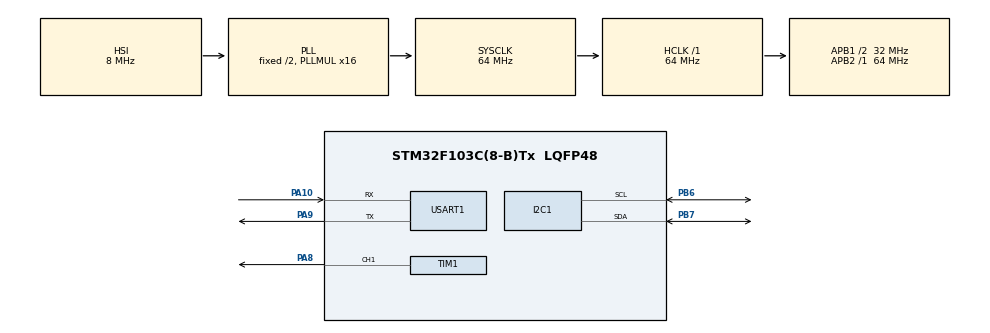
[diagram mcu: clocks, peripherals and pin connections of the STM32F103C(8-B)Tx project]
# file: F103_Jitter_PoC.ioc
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FREERTOS.Tasks01=defaultTask,24,128,StartDefaultTask,Default,NULL,Dynamic,NULL,NULL
FREERTOS.configTOTAL_HEAP_SIZE=8192
FREERTOS.configUSE_NEWLIB_REENTRANT=1
I2C1.I2C_Mode=I2C_Fast
Mcu.Family=STM32F1
Mcu.Name=STM32F103C(8-B)Tx
Mcu.Package=LQFP48
NVIC.PriorityGroup=NVIC_PRIORITYGROUP_4
NVIC.TIM2_IRQn=true\:15\:0\:false\:false\:true\:false\:false\:true\:true
NVIC.TimeBase=TIM2_IRQn
NVIC.TimeBaseIP=TIM2
NVIC.USART1_IRQn=true\:5\:0\:false\:false\:true\:true\:true\:true\:true
PA10.Mode=Asynchronous
PA10.Signal=USART1_RX
PA13.Mode=Serial_Wire
PA13.Signal=SYS_JTMS-SWDIO
PA14.Mode=Serial_Wire
PA14.Signal=SYS_JTCK-SWCLK
PA8.Signal=S_TIM1_CH1
PA9.Mode=Asynchronous
PA9.Signal=USART1_TX
PB6.Mode=I2C
PB6.Signal=I2C1_SCL
PB7.Mode=I2C
PB7.Signal=I2C1_SDA
ProjectManager.HeapSize=0x200
ProjectManager.StackSize=0x400
ProjectManager.TargetToolchain=CMake
RCC.AHBFreq_Value=64000000
RCC.APB1CLKDivider=RCC_HCLK_DIV2
RCC.APB1Freq_Value=32000000
RCC.APB1TimFreq_Value=64000000
RCC.APB2Freq_Value=64000000
RCC.APB2TimFreq_Value=64000000
RCC.HCLKFreq_Value=64000000
RCC.PLLMUL=RCC_PLL_MUL16
RCC.SYSCLKFreq_VALUE=64000000
RCC.SYSCLKSource=RCC_SYSCLKSOURCE_PLLCLK
RCC.USBFreq_Value=64000000
SH.S_TIM1_CH1.0=TIM1_CH1,PWM Generation1 CH1
TIM1.Channel-PWM\ Generation1\ CH1=TIM_CHANNEL_1
TIM1.ClockDivision=TIM_CLOCKDIVISION_DIV2
TIM1.Period=19999
TIM1.Prescaler=63
USART1.VirtualMode=VM_ASYNC
VP_FREERTOS_VS_CMSIS_V2.Mode=CMSIS_V2
VP_SYS_VS_tim2.Mode=TIM2
VP_TIM1_VS_ClockSourceINT.Mode=Internal
board=custom

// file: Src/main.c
/* USER CODE BEGIN Header */
/**
  ******************************************************************************
  * @file           : main.c
  * @brief          : Main program body
  ******************************************************************************
  * @attention
  *
  * Copyright (c) 2026 STMicroelectronics.
  * All rights reserved.
  *
  * This software is licensed under terms that can be found in the LICENSE file
  * in the root directory of this software component.
  * If no LICENSE file comes with this software, it is provided AS-IS.
  *
  ******************************************************************************
  */
/* USER CODE END Header */
#include "main.h"
#include "cmsis_os.h"

/* USER CODE BEGIN Includes */
#include "FreeRTOS.h"
#include "queue.h"
#include "semphr.h"
#include "task.h"
#include "mpu6050.h"
#include <stdlib.h>
#include <stdio.h>
#include <string.h>
#include <limits.h>
/* USER CODE END Includes */

I2C_HandleTypeDef hi2c1;

TIM_HandleTypeDef htim1;

UART_HandleTypeDef huart1;

/* Definitions for defaultTask */
osThreadId_t defaultTaskHandle;
const osThreadAttr_t defaultTask_attributes = {
  .name = "defaultTask",
  .stack_size = 128 * 4,
  .priority = (osPriority_t) osPriorityNormal,
};
/* USER CODE BEGIN PV */
SemaphoreHandle_t uartMutex;      // Protects UART

/* Task handles - global so trace hooks can identify them */
TaskHandle_t hTaskI2C     = NULL;
TaskHandle_t hTaskProcess = NULL;
TaskHandle_t hTaskUart    = NULL;
TaskHandle_t hTaskMonitor = NULL;

mpu6050_t Mpu6050 = {0};

/* Pure CPU cycle measurement via trace hooks */
volatile uint32_t task_cpu_start_cycles = 0;

#define MEASURED_TASK_COUNT 3
#define TASK_I2C_IDX        0
#define TASK_PROCESS_IDX    1
#define TASK_UART_IDX       2

volatile uint32_t task_cpu_cycles[MEASURED_TASK_COUNT] = {0};

/* Statistics per task (reset every 10 s) */
typedef struct {
    int32_t  min_jitter_us;
    int32_t  max_jitter_us;
    int64_t  sum_jitter_us;
    uint32_t job_count;
    uint32_t deadline_misses;
    uint32_t max_response_us;
    uint32_t max_pure_c_us;
    int32_t  min_pure_c_us;
    uint64_t sum_pure_c_us;
} TaskStats_t;

TaskStats_t stats[MEASURED_TASK_COUNT];

/* USER CODE END PV */

void SystemClock_Config(void);
static void MX_GPIO_Init(void);
static void MX_USART1_UART_Init(void);
static void MX_I2C1_Init(void);
static void MX_TIM1_Init(void);
void StartDefaultTask(void *argument);

/* USER CODE BEGIN 0 */

// timing
static volatile uint64_t dwt_overflows = 0;
static volatile uint32_t last_dwt = 0;

static inline uint64_t get_micros64(void) {
    uint32_t now;
    uint64_t overflows;
    BaseType_t scheduler_running = (xTaskGetSchedulerState() != taskSCHEDULER_NOT_STARTED);
    uint32_t primask = 0;

    if (scheduler_running) {
        taskENTER_CRITICAL();
    } else {
        primask = __get_PRIMASK();
        __disable_irq();
    }

    now = DWT->CYCCNT;
    if (now < last_dwt) {
        dwt_overflows += (1ULL << 32);
    }
    last_dwt = now;
    overflows = dwt_overflows;

    if (scheduler_running) {
        taskEXIT_CRITICAL();
    } else if (primask == 0U) {
        __enable_irq();
    }

    return (overflows + now) / 64ULL;
}
void App_TraceSwitchedIn(void) {
    task_cpu_start_cycles = DWT->CYCCNT;
}

void App_TraceSwitchedOut(void) {
    uint32_t delta = DWT->CYCCNT - task_cpu_start_cycles;
    TaskHandle_t curr = xTaskGetCurrentTaskHandle();

    if (curr == hTaskI2C) {
        task_cpu_cycles[TASK_I2C_IDX] += delta;
    } else if (curr == hTaskProcess) {
        task_cpu_cycles[TASK_PROCESS_IDX] += delta;
    } else if (curr == hTaskUart) {
        task_cpu_cycles[TASK_UART_IDX] += delta;
    }
}
void CalibrateWorkload(void) {
	char buf[64];
    uint32_t start = get_micros64();
    for (volatile uint32_t i = 0; i < 100000; i++);
    uint32_t end = get_micros64();

    // This prints how many microseconds 100,000 iterations take.
    printf("100k loops = %lu us\n", end - start);
    int len = snprintf(buf, sizeof(buf), "100k loops = %lu us\n", end - start);

    HAL_UART_Transmit(&huart1, (uint8_t *)buf, len, 10);
}

static void DebugLog(const char *msg) {
    if ((uartMutex != NULL) && (xTaskGetSchedulerState() != taskSCHEDULER_NOT_STARTED)) {
        if (xSemaphoreTake(uartMutex, pdMS_TO_TICKS(100)) == pdTRUE) {
            HAL_UART_Transmit(&huart1, (uint8_t *)msg, strlen(msg), 100);
            xSemaphoreGive(uartMutex);
        }
    } else {
        HAL_UART_Transmit(&huart1, (uint8_t *)msg, strlen(msg), 100);
    }
}

static void CheckCreated(const void *handle, const char *name) {
    if (handle == NULL) {
        DebugLog("create failed: ");
        DebugLog(name);
        DebugLog("\r\n");
        Error_Handler();
    }
}

#define I2C_TASK_PERIOD_MS     10U
#define RAW_RING_LEN           8U
#define PROCESSED_RING_LEN     8U
#define MPU_AXIS_COUNT         FIFO_SAMPLE_VALUES

static const char *task_names[MEASURED_TASK_COUNT] = {
    "I2C",
    "Process",
    "UART"
};

typedef struct {
    uint32_t seq;
    uint64_t capture_us;
    uint64_t ready_us;
    float value[MPU_AXIS_COUNT]; // ax, ay, az, temp, gx, gy, gz
} SensorSample_t;

typedef struct {
    uint32_t seq;
    uint64_t capture_us;
    uint64_t ready_us;
    float value[MPU_AXIS_COUNT];
} ProcessedSample_t;

static QueueHandle_t rawRing;
static QueueHandle_t processedRing;
static volatile uint32_t raw_drop_count = 0;
static volatile uint32_t processed_drop_count = 0;
static volatile uint32_t fifo_empty_count = 0;
static volatile uint32_t fifo_overflow_count = 0;
static volatile uint16_t last_fifo_count = 0;
static volatile uint16_t max_fifo_count = 0;

static void ResetTaskStats(uint8_t idx) {
    stats[idx].min_jitter_us = INT32_MAX;
    stats[idx].max_jitter_us = INT32_MIN;
    stats[idx].sum_jitter_us = 0;
    stats[idx].job_count = 0;
    stats[idx].deadline_misses = 0;
    stats[idx].max_response_us = 0;
    stats[idx].max_pure_c_us = 0;
    stats[idx].min_pure_c_us = INT32_MAX;
    stats[idx].sum_pure_c_us = 0;
}

static void BeginMeasuredJob(uint8_t idx, int32_t jitter_us) {
    task_cpu_cycles[idx] = 0;

    if (jitter_us < stats[idx].min_jitter_us) stats[idx].min_jitter_us = jitter_us;
    if (jitter_us > stats[idx].max_jitter_us) stats[idx].max_jitter_us = jitter_us;
    stats[idx].sum_jitter_us += jitter_us;
    stats[idx].job_count++;
}

static void EndMeasuredJob(uint8_t idx, uint64_t release_us, uint32_t deadline_us) {
    uint32_t current_slice = DWT->CYCCNT - task_cpu_start_cycles;
    uint32_t pure_c_us = (task_cpu_cycles[idx] + current_slice) / 64U;
    uint64_t finish_us = get_micros64();
    uint32_t response_us = (uint32_t)(finish_us - release_us);

    if (pure_c_us > stats[idx].max_pure_c_us) stats[idx].max_pure_c_us = pure_c_us;
    if ((int32_t)pure_c_us < stats[idx].min_pure_c_us) stats[idx].min_pure_c_us = (int32_t)pure_c_us;
    stats[idx].sum_pure_c_us += pure_c_us;

    if (response_us > stats[idx].max_response_us) stats[idx].max_response_us = response_us;
    if ((deadline_us > 0U) && (response_us > deadline_us)) {
        stats[idx].deadline_misses++;
    }
}

static bool ReadFifoIntoSample(SensorSample_t *sample) {
    uint16_t fifo_count = MPU6050_Get_FIFO_Count(&Mpu6050);
    last_fifo_count = fifo_count;
    if (fifo_count > max_fifo_count) {
        max_fifo_count = fifo_count;
    }

    if (fifo_count >= 1024U) {
        fifo_overflow_count++;
        MPU6050_Read_Fifo(&Mpu6050);
        return false;
    }

    if (fifo_count < FIFO_SAMPLE_SIZE) {
        fifo_empty_count++;
        return false;
    }

    sample->capture_us = get_micros64();
    MPU6050_Read_Fifo(&Mpu6050);
    MPU6050_Get_Current_Sample(&Mpu6050, sample->value);
    sample->ready_us = get_micros64();

    return true;
}

void I2CReadTask(void *argument) {
    (void)argument;

    TickType_t xLastWakeTime = xTaskGetTickCount();
    uint64_t theoretical_us = get_micros64();
    uint32_t seq = 0;

    while (1) {
        uint64_t release_us = get_micros64();
        int32_t jitter_us = (int32_t)(release_us - theoretical_us);
        SensorSample_t sample = {0};

        BeginMeasuredJob(TASK_I2C_IDX, jitter_us);

        if (ReadFifoIntoSample(&sample)) {
            sample.seq = seq++;
            if (xQueueSend(rawRing, &sample, 0) != pdPASS) {
                raw_drop_count++;
            }
        }

        theoretical_us += (uint64_t)I2C_TASK_PERIOD_MS * 1000ULL;
        EndMeasuredJob(TASK_I2C_IDX, release_us, I2C_TASK_PERIOD_MS * 1000U);

        vTaskDelayUntil(&xLastWakeTime, pdMS_TO_TICKS(I2C_TASK_PERIOD_MS));
    }
}

void ProcessDataTask(void *argument) {
    (void)argument;

    while (1) {
        SensorSample_t raw = {0};
        ProcessedSample_t processed = {0};

        xQueueReceive(rawRing, &raw, portMAX_DELAY);

        uint64_t release_us = get_micros64();
        int32_t jitter_us = (int32_t)(release_us - raw.ready_us);
        BeginMeasuredJob(TASK_PROCESS_IDX, jitter_us);

        processed.seq = raw.seq;
        processed.capture_us = raw.capture_us;
        for (uint8_t i = 0; i < MPU_AXIS_COUNT; i++) {
            processed.value[i] = raw.value[i] * 200.0f;
        }
        processed.ready_us = get_micros64();

        if (xQueueSend(processedRing, &processed, 0) != pdPASS) {
            processed_drop_count++;
        }

        EndMeasuredJob(TASK_PROCESS_IDX, release_us, 0);
    }
}

void UartSendTask(void *argument) {
    (void)argument;

    while (1) {
        ProcessedSample_t processed = {0};

        xQueueReceive(processedRing, &processed, portMAX_DELAY);

        uint64_t release_us = get_micros64();
        int32_t jitter_us = (int32_t)(release_us - processed.ready_us);
        BeginMeasuredJob(TASK_UART_IDX, jitter_us);

        EndMeasuredJob(TASK_UART_IDX, release_us, 0);
    }
}

/* Monitor Task*/
void MonitorTask(void *arg) {
    (void)arg;

    char buf[220];
    TickType_t xLastWakeTime = xTaskGetTickCount();
    const TickType_t xFrequency = pdMS_TO_TICKS(10000); // X0 s window

    while (1) {
        vTaskDelayUntil(&xLastWakeTime, xFrequency);

        for (int i = 0; i < MEASURED_TASK_COUNT; i++) {
            if (stats[i].job_count == 0) continue;

            int32_t  avg_jitter = (int32_t)(stats[i].sum_jitter_us / stats[i].job_count);
            uint32_t avg_c_us   = (uint32_t)(stats[i].sum_pure_c_us / stats[i].job_count);

            int len = snprintf(buf, sizeof(buf),
                "%s | Jobs:%lu | Jitter min/avg/max: %ld/%ld/%ld us | "
                "Max R: %lu us | Max C: %lu us | Min C: %ld us | Avg C: %lu us | Misses: %lu\r\n",
                task_names[i],
                stats[i].job_count,
                stats[i].min_jitter_us,
                avg_jitter,
                stats[i].max_jitter_us,
                stats[i].max_response_us,
                stats[i].max_pure_c_us,
				stats[i].min_pure_c_us,
                avg_c_us,
                stats[i].deadline_misses);

            if (xSemaphoreTake(uartMutex, portMAX_DELAY) == pdTRUE) {
                HAL_UART_Transmit(&huart1, (uint8_t*)buf, len, 100);
                xSemaphoreGive(uartMutex);
            }

            /* Reset for next window */
            ResetTaskStats((uint8_t)i);
        }

        int len = snprintf(buf, sizeof(buf),
            "Buffers | raw drops:%lu | processed drops:%lu | fifo empty:%lu | fifo overflow:%lu | fifo last/max:%u/%u\r\n",
            raw_drop_count,
            processed_drop_count,
            fifo_empty_count,
            fifo_overflow_count,
            last_fifo_count,
            max_fifo_count);

        if (xSemaphoreTake(uartMutex, portMAX_DELAY) == pdTRUE) {
            HAL_UART_Transmit(&huart1, (uint8_t*)buf, len, 100);
            xSemaphoreGive(uartMutex);
        }
        max_fifo_count = 0;
    }
}
/* USER CODE END 0 */

int main(void)
{

  /* MCU Configuration--------------------------------------------------------*/

  /* Reset of all peripherals, Initializes the Flash interface and the Systick. */
  HAL_Init();

  /* Configure the system clock */
  SystemClock_Config();

  /* Initialize all configured peripherals */
  MX_GPIO_Init();
  MX_USART1_UART_Init();
  MX_I2C1_Init();
  MX_TIM1_Init();
  /* USER CODE BEGIN 2 */
  // Test pwm on 50Hz. Prescaler = 1 + 63 => 1us one tick on tim
  // AutoReoload = 19999 + 1 ticks => 20000 us => 50Hz freq
  // 1500 ticks - example duty cycle
  HAL_TIM_PWM_Start(&htim1, TIM_CHANNEL_1);

  __HAL_TIM_SET_COMPARE(&htim1, TIM_CHANNEL_1, 1500);

  CoreDebug->DEMCR |= CoreDebug_DEMCR_TRCENA_Msk;
  DWT->CYCCNT = 0;
  DWT->CTRL |= DWT_CTRL_CYCCNTENA_Msk;
  last_dwt = 0;
  dwt_overflows = 0;
  /* Calibration (uses blocking TX) */
  CalibrateWorkload();
  MPU6050_Init(&Mpu6050, &hi2c1);
  float offsetXYZ[3] = {188.75, 240, 3361.5};
  float scaleXYZ[3] = {16358.75, 16312.67, 16721.5};
  MPU6050_Set_Accel_Offset_Scale(&Mpu6050, offsetXYZ, scaleXYZ);
  /* Init stats */
  for (int i = 0; i < MEASURED_TASK_COUNT; i++) {
      ResetTaskStats((uint8_t)i);
  }

  /* USER CODE END 2 */

  /* Init scheduler */
  osKernelInitialize();

  /* USER CODE BEGIN RTOS_MUTEX */
  uartMutex = xSemaphoreCreateMutex();
  CheckCreated(uartMutex, "uartMutex");
  /* USER CODE END RTOS_MUTEX */

  /* USER CODE BEGIN RTOS_QUEUES */
  rawRing = xQueueCreate(RAW_RING_LEN, sizeof(SensorSample_t));
  processedRing = xQueueCreate(PROCESSED_RING_LEN, sizeof(ProcessedSample_t));
  CheckCreated(rawRing, "rawRing");
  CheckCreated(processedRing, "processedRing");
  /* USER CODE END RTOS_QUEUES */

  /* Create the thread(s) */
  /* creation of defaultTask */
  defaultTaskHandle = NULL;

  /* USER CODE BEGIN RTOS_THREADS */
  osThreadAttr_t attr = { .stack_size = 384 * 4 };

  attr.name = "I2CRead";
  attr.priority = (osPriority_t) osPriorityAboveNormal;
  attr.stack_size = 384 * 4;
  hTaskI2C = osThreadNew(I2CReadTask, NULL, &attr);
  CheckCreated(hTaskI2C, "I2CRead");

  attr.name = "ProcessData";
  attr.priority = (osPriority_t) osPriorityNormal;
  attr.stack_size = 256 * 4;
  hTaskProcess = osThreadNew(ProcessDataTask, NULL, &attr);
  CheckCreated(hTaskProcess, "ProcessData");

  attr.name = "UartSend";
  attr.priority = (osPriority_t) osPriorityNormal;
  attr.stack_size = 512 * 4;
  hTaskUart = osThreadNew(UartSendTask, NULL, &attr);
  CheckCreated(hTaskUart, "UartSend");

  attr.name = "Monitor";
  attr.priority = (osPriority_t) osPriorityNormal;
  attr.stack_size = 384 * 4;
  hTaskMonitor = osThreadNew(MonitorTask, NULL, &attr);
  CheckCreated(hTaskMonitor, "Monitor");

  /* USER CODE END RTOS_THREADS */

  /* USER CODE BEGIN RTOS_EVENTS */
  static const char startMsg[] = "=== I2C/process/UART jitter pipeline starting ===\r\n";
  HAL_UART_Transmit(&huart1, (uint8_t*)startMsg, sizeof(startMsg) - 1U, 100);
  /* USER CODE END RTOS_EVENTS */

  /* Start scheduler */
  osKernelStart();

  /* We should never get here as control is now taken by the scheduler */

  /* Infinite loop */
  while (1)
  {

  }
}

void SystemClock_Config(void)
{
  RCC_OscInitTypeDef RCC_OscInitStruct = {0};
  RCC_ClkInitTypeDef RCC_ClkInitStruct = {0};

  /** Initializes the RCC Oscillators according to the specified parameters
  * in the RCC_OscInitTypeDef structure.
  */
  RCC_OscInitStruct.OscillatorType = RCC_OSCILLATORTYPE_HSI;
  RCC_OscInitStruct.HSIState = RCC_HSI_ON;
  RCC_OscInitStruct.HSICalibrationValue = RCC_HSICALIBRATION_DEFAULT;
  RCC_OscInitStruct.PLL.PLLState = RCC_PLL_ON;
  RCC_OscInitStruct.PLL.PLLSource = RCC_PLLSOURCE_HSI_DIV2;
  RCC_OscInitStruct.PLL.PLLMUL = RCC_PLL_MUL16;
  if (HAL_RCC_OscConfig(&RCC_OscInitStruct) != HAL_OK)
  {
    Error_Handler();
  }

  /** Initializes the CPU, AHB and APB buses clocks
  */
  RCC_ClkInitStruct.ClockType = RCC_CLOCKTYPE_HCLK|RCC_CLOCKTYPE_SYSCLK
                              |RCC_CLOCKTYPE_PCLK1|RCC_CLOCKTYPE_PCLK2;
  RCC_ClkInitStruct.SYSCLKSource = RCC_SYSCLKSOURCE_PLLCLK;
  RCC_ClkInitStruct.AHBCLKDivider = RCC_SYSCLK_DIV1;
  RCC_ClkInitStruct.APB1CLKDivider = RCC_HCLK_DIV2;
  RCC_ClkInitStruct.APB2CLKDivider = RCC_HCLK_DIV1;

  if (HAL_RCC_ClockConfig(&RCC_ClkInitStruct, FLASH_LATENCY_2) != HAL_OK)
  {
    Error_Handler();
  }
}

static void MX_I2C1_Init(void)
{

  hi2c1.Instance = I2C1;
  hi2c1.Init.ClockSpeed = 400000;
  hi2c1.Init.DutyCycle = I2C_DUTYCYCLE_2;
  hi2c1.Init.OwnAddress1 = 0;
  hi2c1.Init.AddressingMode = I2C_ADDRESSINGMODE_7BIT;
  hi2c1.Init.DualAddressMode = I2C_DUALADDRESS_DISABLE;
  hi2c1.Init.OwnAddress2 = 0;
  hi2c1.Init.GeneralCallMode = I2C_GENERALCALL_DISABLE;
  hi2c1.Init.NoStretchMode = I2C_NOSTRETCH_DISABLE;
  if (HAL_I2C_Init(&hi2c1) != HAL_OK)
  {
    Error_Handler();
  }

}

static void MX_TIM1_Init(void)
{

  TIM_ClockConfigTypeDef sClockSourceConfig = {0};
  TIM_MasterConfigTypeDef sMasterConfig = {0};
  TIM_OC_InitTypeDef sConfigOC = {0};
  TIM_BreakDeadTimeConfigTypeDef sBreakDeadTimeConfig = {0};

  htim1.Instance = TIM1;
  htim1.Init.Prescaler = 63;
  htim1.Init.CounterMode = TIM_COUNTERMODE_UP;
  htim1.Init.Period = 19999;
  htim1.Init.ClockDivision = TIM_CLOCKDIVISION_DIV2;
  htim1.Init.RepetitionCounter = 0;
  htim1.Init.AutoReloadPreload = TIM_AUTORELOAD_PRELOAD_DISABLE;
  if (HAL_TIM_Base_Init(&htim1) != HAL_OK)
  {
    Error_Handler();
  }
  sClockSourceConfig.ClockSource = TIM_CLOCKSOURCE_INTERNAL;
  if (HAL_TIM_ConfigClockSource(&htim1, &sClockSourceConfig) != HAL_OK)
  {
    Error_Handler();
  }
  if (HAL_TIM_PWM_Init(&htim1) != HAL_OK)
  {
    Error_Handler();
  }
  sMasterConfig.MasterOutputTrigger = TIM_TRGO_RESET;
  sMasterConfig.MasterSlaveMode = TIM_MASTERSLAVEMODE_DISABLE;
  if (HAL_TIMEx_MasterConfigSynchronization(&htim1, &sMasterConfig) != HAL_OK)
  {
    Error_Handler();
  }
  sConfigOC.OCMode = TIM_OCMODE_PWM1;
  sConfigOC.Pulse = 0;
  sConfigOC.OCPolarity = TIM_OCPOLARITY_HIGH;
  sConfigOC.OCNPolarity = TIM_OCNPOLARITY_HIGH;
  sConfigOC.OCFastMode = TIM_OCFAST_DISABLE;
  sConfigOC.OCIdleState = TIM_OCIDLESTATE_RESET;
  sConfigOC.OCNIdleState = TIM_OCNIDLESTATE_RESET;
  if (HAL_TIM_PWM_ConfigChannel(&htim1, &sConfigOC, TIM_CHANNEL_1) != HAL_OK)
  {
    Error_Handler();
  }
  sBreakDeadTimeConfig.OffStateRunMode = TIM_OSSR_DISABLE;
  sBreakDeadTimeConfig.OffStateIDLEMode = TIM_OSSI_DISABLE;
  sBreakDeadTimeConfig.LockLevel = TIM_LOCKLEVEL_OFF;
  sBreakDeadTimeConfig.DeadTime = 0;
  sBreakDeadTimeConfig.BreakState = TIM_BREAK_DISABLE;
  sBreakDeadTimeConfig.BreakPolarity = TIM_BREAKPOLARITY_HIGH;
  sBreakDeadTimeConfig.AutomaticOutput = TIM_AUTOMATICOUTPUT_DISABLE;
  if (HAL_TIMEx_ConfigBreakDeadTime(&htim1, &sBreakDeadTimeConfig) != HAL_OK)
  {
    Error_Handler();
  }
  HAL_TIM_MspPostInit(&htim1);

}

static void MX_USART1_UART_Init(void)
{

  huart1.Instance = USART1;
  huart1.Init.BaudRate = 115200;
  huart1.Init.WordLength = UART_WORDLENGTH_8B;
  huart1.Init.StopBits = UART_STOPBITS_1;
  huart1.Init.Parity = UART_PARITY_NONE;
  huart1.Init.Mode = UART_MODE_TX_RX;
  huart1.Init.HwFlowCtl = UART_HWCONTROL_NONE;
  huart1.Init.OverSampling = UART_OVERSAMPLING_16;
  if (HAL_UART_Init(&huart1) != HAL_OK)
  {
    Error_Handler();
  }

}

static void MX_GPIO_Init(void)
{

  /* GPIO Ports Clock Enable */
  __HAL_RCC_GPIOA_CLK_ENABLE();
  __HAL_RCC_GPIOB_CLK_ENABLE();

}

void StartDefaultTask(void *argument)
{
  for(;;)
  {
    osDelay(1);
  }
}

void HAL_TIM_PeriodElapsedCallback(TIM_HandleTypeDef *htim)
{
  if (htim->Instance == TIM2)
  {
    HAL_IncTick();
  }
}

void Error_Handler(void)
{
  __disable_irq();
  while (1)
  {
  }
}
